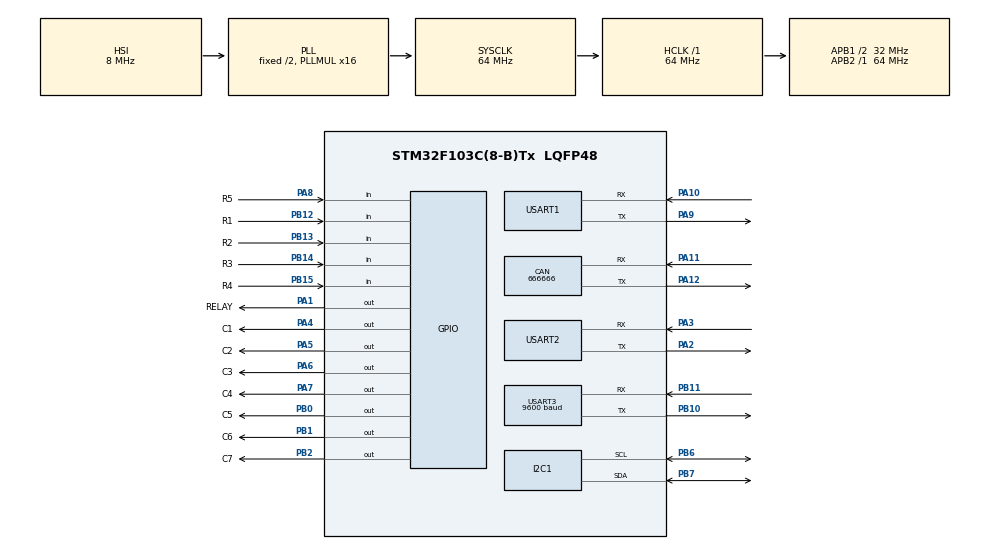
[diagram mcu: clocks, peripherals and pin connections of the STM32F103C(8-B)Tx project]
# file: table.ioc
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CAN.CalculateBaudRate=666666
CAN.CalculateTimeBit=1500
CAN.CalculateTimeQuantum=500.0
Mcu.Family=STM32F1
Mcu.Name=STM32F103C(8-B)Tx
Mcu.Package=LQFP48
NVIC.PriorityGroup=NVIC_PRIORITYGROUP_4
NVIC.USART1_IRQn=true\:0\:0\:false\:false\:true\:true\:true\:true
NVIC.USART2_IRQn=true\:0\:0\:false\:false\:true\:true\:true\:true
NVIC.USART3_IRQn=true\:0\:0\:false\:false\:true\:true\:true\:true
PA1.GPIO_Label=RELAY
PA1.Signal=GPIO_Output
PA10.Mode=Asynchronous
PA10.Signal=USART1_RX
PA11.Mode=CAN_Activate
PA11.Signal=CAN_RX
PA12.Mode=CAN_Activate
PA12.Signal=CAN_TX
PA13.Mode=Serial_Wire
PA13.Signal=SYS_JTMS-SWDIO
PA14.Mode=Serial_Wire
PA14.Signal=SYS_JTCK-SWCLK
PA2.Mode=Asynchronous
PA2.Signal=USART2_TX
PA3.Mode=Asynchronous
PA3.Signal=USART2_RX
PA4.GPIO_Label=C1
PA4.Signal=GPIO_Output
PA5.GPIO_Label=C2
PA5.Signal=GPIO_Output
PA6.GPIO_Label=C3
PA6.Signal=GPIO_Output
PA7.GPIO_Label=C4
PA7.Signal=GPIO_Output
PA8.GPIO_Label=R5
PA8.GPIO_PuPd=GPIO_PULLDOWN
PA8.Signal=GPIO_Input
PA9.Mode=Asynchronous
PA9.Signal=USART1_TX
PB0.GPIO_Label=C5
PB0.Signal=GPIO_Output
PB1.GPIO_Label=C6
PB1.Signal=GPIO_Output
PB10.Mode=Asynchronous
PB10.Signal=USART3_TX
PB11.Mode=Asynchronous
PB11.Signal=USART3_RX
PB12.GPIO_Label=R1
PB12.GPIO_PuPd=GPIO_PULLDOWN
PB12.Signal=GPIO_Input
PB13.GPIO_Label=R2
PB13.GPIO_PuPd=GPIO_PULLDOWN
PB13.Signal=GPIO_Input
PB14.GPIO_Label=R3
PB14.GPIO_PuPd=GPIO_PULLDOWN
PB14.Signal=GPIO_Input
PB15.GPIO_Label=R4
PB15.GPIO_PuPd=GPIO_PULLDOWN
PB15.Signal=GPIO_Input
PB2.GPIO_Label=C7
PB2.Signal=GPIO_Output
PB6.Mode=I2C
PB6.Signal=I2C1_SCL
PB7.Mode=I2C
PB7.Signal=I2C1_SDA
PC14-OSC32_IN.Mode=LSE-External-Oscillator
PC14-OSC32_IN.Signal=RCC_OSC32_IN
PC15-OSC32_OUT.Mode=LSE-External-Oscillator
PC15-OSC32_OUT.Signal=RCC_OSC32_OUT
PD0-OSC_IN.Mode=HSE-External-Oscillator
PD0-OSC_IN.Signal=RCC_OSC_IN
PD1-OSC_OUT.Mode=HSE-External-Oscillator
PD1-OSC_OUT.Signal=RCC_OSC_OUT
ProjectManager.HeapSize=0x200
ProjectManager.StackSize=0x400
ProjectManager.TargetToolchain=STM32CubeIDE
RCC.AHBFreq_Value=64000000
RCC.APB1CLKDivider=RCC_HCLK_DIV2
RCC.APB1Freq_Value=32000000
RCC.APB1TimFreq_Value=64000000
RCC.APB2Freq_Value=64000000
RCC.APB2TimFreq_Value=64000000
RCC.HCLKFreq_Value=64000000
RCC.PLLMUL=RCC_PLL_MUL16
RCC.SYSCLKFreq_VALUE=64000000
RCC.SYSCLKSource=RCC_SYSCLKSOURCE_PLLCLK
RCC.USBFreq_Value=64000000
USART1.VirtualMode=VM_ASYNC
USART2.VirtualMode=VM_ASYNC
USART3.BaudRate=9600
USART3.VirtualMode=VM_ASYNC
board=custom

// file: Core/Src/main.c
/* USER CODE BEGIN Header */
/**
  ******************************************************************************
  * @file           : main.c
  * @brief          : Main program body
  * @developer      : Amiya Krishna Gupta
  * @start_date     : 11 August 2025
  * @updated        : Consolidated fix — relay + LCD both operational,
  *                   2-state reverse toggle + DWIN RTC integration.
  ******************************************************************************
  */
/* USER CODE END Header */
#include "main.h"

/* USER CODE BEGIN Includes */
#include "lcd_hmi.h"
#include "button_matrix.h"
#include "action_comm.h"
#include "sensor_manager.h"
#include "rtc_manager.h"
/* USER CODE END Includes */

CAN_HandleTypeDef hcan;

I2C_HandleTypeDef hi2c1;

UART_HandleTypeDef huart1;
UART_HandleTypeDef huart2;
UART_HandleTypeDef huart3;

/* USER CODE BEGIN PV */

/* ------------------------------------------------------------------
 * Debug snapshot for STM32CubeIDE Live Expressions.
 * Add "g_ctest" to the Live Expressions window to watch the RTC
 * advance second-by-second and see the last reverse-icon value
 * written to the DWIN.
 * ------------------------------------------------------------------ */
typedef struct
{
    RTC_Time_t rtc;          /* live software clock snapshot          */
    uint8_t    reverse_icon; /* last IA 0x6A value pushed (0/1)       */
} CTest_t;

volatile CTest_t g_ctest = {0};

/* Uncomment (or add REVERSE_RTC_SELFTEST to project symbols) to run
 * the reverse + RTC self-test once at boot. Remove for production.   */
//#define REVERSE_RTC_SELFTEST

/* USER CODE END PV */

void SystemClock_Config(void);
static void MX_GPIO_Init(void);
static void MX_CAN_Init(void);
static void MX_USART1_UART_Init(void);
static void MX_USART2_UART_Init(void);
static void MX_USART3_UART_Init(void);
static void MX_I2C1_Init(void);

int main(void)
{

  /* MCU Configuration--------------------------------------------------------*/

  /* Reset of all peripherals, Initializes the Flash interface and the Systick. */
  HAL_Init();

  /* Configure the system clock */
  SystemClock_Config();

  /* Initialize all configured peripherals */
  MX_GPIO_Init();
  MX_CAN_Init();
  MX_USART1_UART_Init();
  MX_USART2_UART_Init();
  MX_USART3_UART_Init();
  MX_I2C1_Init();
  /* USER CODE BEGIN 2 */

  /* ----------------------------------------------------------------
   * FIX: Explicitly set relay OFF at boot before any module init.
   * This guarantees the relay pin is in a known state even if
   * MX_GPIO_Init() default-LOW was not sufficient (e.g. glitch).
   * ---------------------------------------------------------------- */
  RELAY_SET(0);

  /* ----------------------------------------------------------------
   * Relay self-test (optional — remove after hardware verification)
   * ON 2s → OFF 2s confirms GPIO + relay driver circuit are working.
   * ---------------------------------------------------------------- */
#ifdef RELAY_SELF_TEST
  RELAY_SET(1);  HAL_Delay(2000);
  RELAY_SET(0);  HAL_Delay(2000);
#endif

  /* ----------------------------------------------------------------
   * Application init — order matters:
   *   1. LCD first  (no interrupts, just UART TX to DWIN)
   *   2. Sensor init (no interrupts)
   *   3. ACTION_COMM last — starts HAL_UART_Receive_IT
   *
   * FIX: UART handle assignments —
   *   huart2 → DWIN LCD   (USART2 = PA2 TX / PA3 RX)
   *   huart3 → BLE module (USART3 = PB10 TX / PB11 RX)
   *   huart1 → Debug/aux  (USART1 = PA9 TX / PA10 RX)
   *
   * If your hardware has different wiring, swap handles here —
   * DO NOT change the UART init functions.
   * ---------------------------------------------------------------- */
  LCD_HMI_Init(&huart2);
  Sensor_Init();
  ACTION_COMM_Init(&huart3, &huart1);   /* starts HAL_UART_Receive_IT */

  /* Drive all column outputs LOW before matrix scan starts */
  HAL_GPIO_WritePin(C1_GPIO_Port, C1_Pin, GPIO_PIN_RESET);
  HAL_GPIO_WritePin(C2_GPIO_Port, C2_Pin, GPIO_PIN_RESET);
  HAL_GPIO_WritePin(C3_GPIO_Port, C3_Pin, GPIO_PIN_RESET);
  HAL_GPIO_WritePin(C4_GPIO_Port, C4_Pin, GPIO_PIN_RESET);
  HAL_GPIO_WritePin(C5_GPIO_Port, C5_Pin, GPIO_PIN_RESET);
  HAL_GPIO_WritePin(C6_GPIO_Port, C6_Pin, GPIO_PIN_RESET);
  HAL_GPIO_WritePin(C7_GPIO_Port, C7_Pin, GPIO_PIN_RESET);

  /* ----------------------------------------------------------------
   * FIX: Turn relay ON before startup sequence so the DWIN display
   * has power during the logo animation. Previous code only called
   * RELAY_SET inside LCD_TogglePower() which is a toggle — at boot
   * lcdPowerOn is already 1 so the relay was never explicitly set.
   * ---------------------------------------------------------------- */
  RELAY_SET(1);

  /* Small delay to let DWIN boot after power rail stabilises */
  HAL_Delay(100);

  LCD_ShowStartupSequence();

  /* ----------------------------------------------------------------
   * RTC bring-up. DWIN system VP 0x0010 is the RTC register, driven
   * over the same DWIN UART (huart2). No hardware RTC chip is fitted,
   * so the time is held in software and re-written every second by
   * RTC_Tick() in the main loop.
   *
   * RTC_SetRandom() seeds a random valid start time so the clock is
   * visibly advancing on the display right away. Swap for
   * RTC_SetDateTime(yy,mm,dd,hh,mm,ss) once a real time source exists.
   *
   * NOTE (DWIN side): the .HMI project must have an RTC display control
   * bound to VP 0x0010 on the page(s) that should show the clock.
   * ---------------------------------------------------------------- */
  RTC_Init(&huart2);
  RTC_SetRandom();

#ifdef REVERSE_RTC_SELFTEST
  /* ================================================================
   * REVERSE + RTC SELF-TEST  (line-by-line / Live Expressions)
   * ----------------------------------------------------------------
   * Set a breakpoint on the first line, step with F5/F10, watch the
   * DWIN screen change and add "g_ctest" to Live Expressions.
   * Delete or comment out REVERSE_RTC_SELFTEST for production builds.
   * ================================================================ */

  /* ---- Reverse indicator icon : IA 0x6A ----
   * Exercise the REAL button path: LCD_ToggleReverse() flips the state
   * and writes {5A A5 05 82 00 6A 00 IS} internally.                   */

  LCD_ToggleReverse();                 /* reverse ENGAGED : icon 6A = 1 */
  g_ctest.reverse_icon = LCD_IsReverse();
  HAL_Delay(1500);

  LCD_ToggleReverse();                 /* reverse NORMAL  : icon 6A = 0 */
  g_ctest.reverse_icon = LCD_IsReverse();
  HAL_Delay(1500);

  /* ---- RTC on the LCD ----
   * Visual walk-through: sets several times on VP 0x0010 and advances a
   * live 10-second rollover. Watch the clock change on the display.     */
//  RTC_RunDisplayTest();
  RTC_GetTime((RTC_Time_t *)&g_ctest.rtc);
#endif /* REVERSE_RTC_SELFTEST */

  /* USER CODE END 2 */
  /* ============================================================
   * ANTI-COLLISION PAGE + ICON  —  RAW BENCH TEST
   * Page 23 = PA 0x17 , Icon = IA 0x58 (1=collision, 0=normal)
   * Each step held so you can watch the DWIN. Remove after test.
   * ============================================================ */
//
//  /* ---- TEST 1: page then icon, back-to-back (no delay) ---- */
//  {
//      uint8_t page23[10] = {0x5A,0xA5,0x07,0x82,0x00,0x84,0x5A,0x01,0x00,0x17};
//      HAL_UART_Transmit(&huart2, page23, 10, HAL_MAX_DELAY);
//      uint8_t iconOn[8]  = {0x5A,0xA5,0x05,0x82,0x00,0x58,0x00,0x01};
//      HAL_UART_Transmit(&huart2, iconOn, 8, HAL_MAX_DELAY);
//      HAL_Delay(3000);   /* look: is the collision icon showing? */
//  }
//
//  /* ---- TEST 2: page, SETTLE, then icon (settle-after-page) ---- */
//  {
//      uint8_t page23[10] = {0x5A,0xA5,0x07,0x82,0x00,0x84,0x5A,0x01,0x00,0x17};
//      HAL_UART_Transmit(&huart2, page23, 10, HAL_MAX_DELAY);
//      HAL_Delay(100);    /* let the page finish rendering */
//      uint8_t iconOn[8]  = {0x5A,0xA5,0x05,0x82,0x00,0x58,0x00,0x01};
//      HAL_UART_Transmit(&huart2, iconOn, 8, HAL_MAX_DELAY);
//      HAL_Delay(3000);
//  }
//
//  /* ---- TEST 3: icon OFF then ON on the same page (toggle) ---- */
//  {
//      uint8_t iconOff[8] = {0x5A,0xA5,0x05,0x82,0x00,0x58,0x00,0x00};
//      HAL_UART_Transmit(&huart2, iconOff, 8, HAL_MAX_DELAY);
//      HAL_Delay(1500);   /* normal icon */
//      uint8_t iconOn[8]  = {0x5A,0xA5,0x05,0x82,0x00,0x58,0x00,0x01};
//      HAL_UART_Transmit(&huart2, iconOn, 8, HAL_MAX_DELAY);
//      HAL_Delay(3000);   /* collision icon */
//  }
//
//  /* ---- TEST 4: hammer the icon (does it survive repeated writes?) ---- */
//  {
//      uint8_t page23[10] = {0x5A,0xA5,0x07,0x82,0x00,0x84,0x5A,0x01,0x00,0x17};
//      HAL_UART_Transmit(&huart2, page23, 10, HAL_MAX_DELAY);
//      HAL_Delay(100);
//      for(int i = 0; i < 20; i++)   /* 20 writes over ~4s, page NOT re-sent */
//      {
//          uint8_t iconOn[8] = {0x5A,0xA5,0x05,0x82,0x00,0x58,0x00,0x01};
//          HAL_UART_Transmit(&huart2, iconOn, 8, HAL_MAX_DELAY);
//          HAL_Delay(200);
//      }
//  }
//
//  /* ---- TEST 5: try alternate icon 'value' byte position ----
//   * Some DGUS icon controls are 16-bit: value in byte[7], others expect
//   * the value in byte[6]. This sends value in the HIGH byte to check. */
//  {
//      uint8_t page23[10] = {0x5A,0xA5,0x07,0x82,0x00,0x84,0x5A,0x01,0x00,0x17};
//      HAL_UART_Transmit(&huart2, page23, 10, HAL_MAX_DELAY);
//      HAL_Delay(100);
//      uint8_t iconHi[8] = {0x5A,0xA5,0x05,0x82,0x00,0x58,0x01,0x00}; /* value in byte[6] */
//      HAL_UART_Transmit(&huart2, iconHi, 8, HAL_MAX_DELAY);
//      HAL_Delay(3000);
//  }
//
//  /* ---- return to HOME so the bench ends cleanly ---- */
//  {
//      uint8_t home[10] = {0x5A,0xA5,0x07,0x82,0x00,0x84,0x5A,0x01,0x00,0x04};
//      HAL_UART_Transmit(&huart2, home, 10, HAL_MAX_DELAY);
//      HAL_Delay(2000);
//  }
  /* Infinite loop */
  /* USER CODE BEGIN WHILE */
  while (1)
  {
      BUTTON_MATRIX_Scan();
      Sensor_UpdateDisplay();
      ACTION_COMM_Task();          /* edge detect: open/clear on transition */
      LCD_Task();
      RTC_Tick();                  /* RTC writes here (may blank the icon)  */
      RTC_GetTime((RTC_Time_t *)&g_ctest.rtc);

      LCD_CollisionAlertRefresh(); /* LAST: re-assert icon so it wins the frame */
  }
  /* USER CODE END 3 */
}

void SystemClock_Config(void)
{
  RCC_OscInitTypeDef RCC_OscInitStruct = {0};
  RCC_ClkInitTypeDef RCC_ClkInitStruct = {0};

  /** Initializes the RCC Oscillators according to the specified parameters
  * in the RCC_OscInitTypeDef structure.
  */
  RCC_OscInitStruct.OscillatorType = RCC_OSCILLATORTYPE_HSI;
  RCC_OscInitStruct.HSIState = RCC_HSI_ON;
  RCC_OscInitStruct.HSICalibrationValue = RCC_HSICALIBRATION_DEFAULT;
  RCC_OscInitStruct.PLL.PLLState = RCC_PLL_ON;
  RCC_OscInitStruct.PLL.PLLSource = RCC_PLLSOURCE_HSI_DIV2;
  RCC_OscInitStruct.PLL.PLLMUL = RCC_PLL_MUL16;
  if (HAL_RCC_OscConfig(&RCC_OscInitStruct) != HAL_OK)
  {
    Error_Handler();
  }

  /** Initializes the CPU, AHB and APB buses clocks
  */
  RCC_ClkInitStruct.ClockType = RCC_CLOCKTYPE_HCLK|RCC_CLOCKTYPE_SYSCLK
                              |RCC_CLOCKTYPE_PCLK1|RCC_CLOCKTYPE_PCLK2;
  RCC_ClkInitStruct.SYSCLKSource = RCC_SYSCLKSOURCE_PLLCLK;
  RCC_ClkInitStruct.AHBCLKDivider = RCC_SYSCLK_DIV1;
  RCC_ClkInitStruct.APB1CLKDivider = RCC_HCLK_DIV2;
  RCC_ClkInitStruct.APB2CLKDivider = RCC_HCLK_DIV1;

  if (HAL_RCC_ClockConfig(&RCC_ClkInitStruct, FLASH_LATENCY_2) != HAL_OK)
  {
    Error_Handler();
  }
}

static void MX_CAN_Init(void)
{

  hcan.Instance = CAN1;
  hcan.Init.Prescaler = 16;
  hcan.Init.Mode = CAN_MODE_NORMAL;
  hcan.Init.SyncJumpWidth = CAN_SJW_1TQ;
  hcan.Init.TimeSeg1 = CAN_BS1_1TQ;
  hcan.Init.TimeSeg2 = CAN_BS2_1TQ;
  hcan.Init.TimeTriggeredMode = DISABLE;
  hcan.Init.AutoBusOff = DISABLE;
  hcan.Init.AutoWakeUp = DISABLE;
  hcan.Init.AutoRetransmission = DISABLE;
  hcan.Init.ReceiveFifoLocked = DISABLE;
  hcan.Init.TransmitFifoPriority = DISABLE;
  if (HAL_CAN_Init(&hcan) != HAL_OK)
  {
    Error_Handler();
  }

}

static void MX_I2C1_Init(void)
{

  hi2c1.Instance = I2C1;
  hi2c1.Init.ClockSpeed = 100000;
  hi2c1.Init.DutyCycle = I2C_DUTYCYCLE_2;
  hi2c1.Init.OwnAddress1 = 0;
  hi2c1.Init.AddressingMode = I2C_ADDRESSINGMODE_7BIT;
  hi2c1.Init.DualAddressMode = I2C_DUALADDRESS_DISABLE;
  hi2c1.Init.OwnAddress2 = 0;
  hi2c1.Init.GeneralCallMode = I2C_GENERALCALL_DISABLE;
  hi2c1.Init.NoStretchMode = I2C_NOSTRETCH_DISABLE;
  if (HAL_I2C_Init(&hi2c1) != HAL_OK)
  {
    Error_Handler();
  }

}

static void MX_USART1_UART_Init(void)
{

  huart1.Instance = USART1;
  huart1.Init.BaudRate = 115200;
  huart1.Init.WordLength = UART_WORDLENGTH_8B;
  huart1.Init.StopBits = UART_STOPBITS_1;
  huart1.Init.Parity = UART_PARITY_NONE;
  huart1.Init.Mode = UART_MODE_TX_RX;
  huart1.Init.HwFlowCtl = UART_HWCONTROL_NONE;
  huart1.Init.OverSampling = UART_OVERSAMPLING_16;
  if (HAL_UART_Init(&huart1) != HAL_OK)
  {
    Error_Handler();
  }

}

static void MX_USART2_UART_Init(void)
{

  huart2.Instance = USART2;
  huart2.Init.BaudRate = 115200;
  huart2.Init.WordLength = UART_WORDLENGTH_8B;
  huart2.Init.StopBits = UART_STOPBITS_1;
  huart2.Init.Parity = UART_PARITY_NONE;
  huart2.Init.Mode = UART_MODE_TX_RX;
  huart2.Init.HwFlowCtl = UART_HWCONTROL_NONE;
  huart2.Init.OverSampling = UART_OVERSAMPLING_16;
  if (HAL_UART_Init(&huart2) != HAL_OK)
  {
    Error_Handler();
  }

}

static void MX_USART3_UART_Init(void)
{

  huart3.Instance = USART3;
  huart3.Init.BaudRate = 9600;
  huart3.Init.WordLength = UART_WORDLENGTH_8B;
  huart3.Init.StopBits = UART_STOPBITS_1;
  huart3.Init.Parity = UART_PARITY_NONE;
  huart3.Init.Mode = UART_MODE_TX_RX;
  huart3.Init.HwFlowCtl = UART_HWCONTROL_NONE;
  huart3.Init.OverSampling = UART_OVERSAMPLING_16;
  if (HAL_UART_Init(&huart3) != HAL_OK)
  {
    Error_Handler();
  }

}

static void MX_GPIO_Init(void)
{
  GPIO_InitTypeDef GPIO_InitStruct = {0};

  /* GPIO Ports Clock Enable */
  __HAL_RCC_GPIOC_CLK_ENABLE();
  __HAL_RCC_GPIOD_CLK_ENABLE();
  __HAL_RCC_GPIOA_CLK_ENABLE();
  __HAL_RCC_GPIOB_CLK_ENABLE();

  /*Configure GPIO pin Output Level */
  HAL_GPIO_WritePin(GPIOA, RELAY_Pin|C1_Pin|C2_Pin|C3_Pin
                          |C4_Pin, GPIO_PIN_RESET);

  /*Configure GPIO pin Output Level */
  HAL_GPIO_WritePin(GPIOB, C5_Pin|C6_Pin|C7_Pin, GPIO_PIN_RESET);

  /*Configure GPIO pins : RELAY_Pin C1_Pin C2_Pin C3_Pin
                           C4_Pin */
  GPIO_InitStruct.Pin = RELAY_Pin|C1_Pin|C2_Pin|C3_Pin
                          |C4_Pin;
  GPIO_InitStruct.Mode = GPIO_MODE_OUTPUT_PP;
  GPIO_InitStruct.Pull = GPIO_NOPULL;
  GPIO_InitStruct.Speed = GPIO_SPEED_FREQ_LOW;
  HAL_GPIO_Init(GPIOA, &GPIO_InitStruct);

  /*Configure GPIO pins : C5_Pin C6_Pin C7_Pin */
  GPIO_InitStruct.Pin = C5_Pin|C6_Pin|C7_Pin;
  GPIO_InitStruct.Mode = GPIO_MODE_OUTPUT_PP;
  GPIO_InitStruct.Pull = GPIO_NOPULL;
  GPIO_InitStruct.Speed = GPIO_SPEED_FREQ_LOW;
  HAL_GPIO_Init(GPIOB, &GPIO_InitStruct);

  /*Configure GPIO pins : R1_Pin R2_Pin R3_Pin R4_Pin */
  GPIO_InitStruct.Pin = R1_Pin|R2_Pin|R3_Pin|R4_Pin;
  GPIO_InitStruct.Mode = GPIO_MODE_INPUT;
  GPIO_InitStruct.Pull = GPIO_PULLDOWN;
  HAL_GPIO_Init(GPIOB, &GPIO_InitStruct);

  /*Configure GPIO pin : R5_Pin */
  GPIO_InitStruct.Pin = R5_Pin;
  GPIO_InitStruct.Mode = GPIO_MODE_INPUT;
  GPIO_InitStruct.Pull = GPIO_PULLDOWN;
  HAL_GPIO_Init(R5_GPIO_Port, &GPIO_InitStruct);

}

void Error_Handler(void)
{
  __disable_irq();
  while (1)
  {
  }
}
